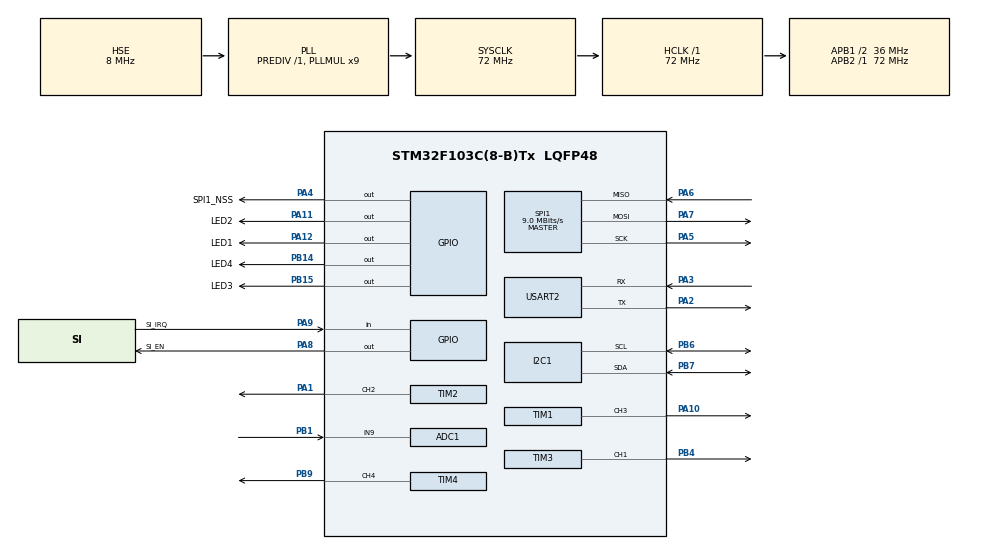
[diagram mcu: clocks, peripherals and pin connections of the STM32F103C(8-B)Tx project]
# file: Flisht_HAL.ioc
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ADC1.Channel-0\#ChannelRegularConversion=ADC_CHANNEL_9
ADC1.ContinuousConvMode=ENABLE
ADC1.NbrOfConversionFlag=1
ADC1.Rank-0\#ChannelRegularConversion=1
ADC1.SamplingTime-0\#ChannelRegularConversion=ADC_SAMPLETIME_7CYCLES_5
ADC1.master=1
Dma.ADC1.0.Direction=DMA_PERIPH_TO_MEMORY
Dma.ADC1.0.Instance=DMA1_Channel1
Dma.ADC1.0.MemDataAlignment=DMA_MDATAALIGN_HALFWORD
Dma.ADC1.0.MemInc=DMA_MINC_ENABLE
Dma.ADC1.0.Mode=DMA_CIRCULAR
Dma.ADC1.0.PeriphDataAlignment=DMA_PDATAALIGN_HALFWORD
Dma.ADC1.0.PeriphInc=DMA_PINC_DISABLE
Dma.ADC1.0.Priority=DMA_PRIORITY_LOW
Dma.Request0=ADC1
I2C1.I2C_Mode=I2C_Fast
Mcu.Family=STM32F1
Mcu.Name=STM32F103C(8-B)Tx
Mcu.Package=LQFP48
NVIC.DMA1_Channel1_IRQn=true\:6\:0\:true\:false\:true\:false\:true\:true
NVIC.PriorityGroup=NVIC_PRIORITYGROUP_4
PA1.Signal=S_TIM2_CH2
PA10.Signal=S_TIM1_CH3
PA11.GPIO_Label=LED2
PA11.GPIO_Speed=GPIO_SPEED_FREQ_HIGH
PA11.PinState=GPIO_PIN_SET
PA11.Signal=GPIO_Output
PA12.GPIO_Label=LED1
PA12.GPIO_Speed=GPIO_SPEED_FREQ_HIGH
PA12.PinState=GPIO_PIN_SET
PA12.Signal=GPIO_Output
PA13.Mode=Serial_Wire
PA13.Signal=SYS_JTMS-SWDIO
PA14.Mode=Serial_Wire
PA14.Signal=SYS_JTCK-SWCLK
PA2.Mode=Asynchronous
PA2.Signal=USART2_TX
PA3.Mode=Asynchronous
PA3.Signal=USART2_RX
PA4.GPIO_Label=SPI1_NSS
PA4.GPIO_Speed=GPIO_SPEED_FREQ_HIGH
PA4.PinState=GPIO_PIN_SET
PA4.Signal=GPIO_Output
PA5.Mode=Full_Duplex_Master
PA5.Signal=SPI1_SCK
PA6.Mode=Full_Duplex_Master
PA6.Signal=SPI1_MISO
PA7.Mode=Full_Duplex_Master
PA7.Signal=SPI1_MOSI
PA8.GPIO_Label=SI_EN
PA8.GPIO_Speed=GPIO_SPEED_FREQ_HIGH
PA8.PinState=GPIO_PIN_SET
PA8.Signal=GPIO_Output
PA9.GPIO_Label=SI_IRQ
PA9.GPIO_PuPd=GPIO_PULLUP
PA9.Signal=GPIO_Input
PB1.Signal=ADCx_IN9
PB14.GPIO_Label=LED4
PB14.GPIO_Speed=GPIO_SPEED_FREQ_HIGH
PB14.PinState=GPIO_PIN_SET
PB14.Signal=GPIO_Output
PB15.GPIO_Label=LED3
PB15.GPIO_Speed=GPIO_SPEED_FREQ_HIGH
PB15.PinState=GPIO_PIN_SET
PB15.Signal=GPIO_Output
PB4.Signal=S_TIM3_CH1
PB6.Mode=I2C
PB6.Signal=I2C1_SCL
PB7.Mode=I2C
PB7.Signal=I2C1_SDA
PB9.Signal=S_TIM4_CH4
PC14-OSC32_IN.Mode=LSE-External-Oscillator
PC14-OSC32_IN.Signal=RCC_OSC32_IN
PC15-OSC32_OUT.Mode=LSE-External-Oscillator
PC15-OSC32_OUT.Signal=RCC_OSC32_OUT
PD0-OSC_IN.Mode=HSE-External-Oscillator
PD0-OSC_IN.Signal=RCC_OSC_IN
PD1-OSC_OUT.Mode=HSE-External-Oscillator
PD1-OSC_OUT.Signal=RCC_OSC_OUT
ProjectManager.HeapSize=0x200
ProjectManager.StackSize=0x400
ProjectManager.TargetToolchain=MDK-ARM V5.27
RCC.ADCPresc=RCC_ADCPCLK2_DIV6
RCC.AHBFreq_Value=72000000
RCC.APB1CLKDivider=RCC_HCLK_DIV2
RCC.APB1Freq_Value=36000000
RCC.APB1TimFreq_Value=72000000
RCC.APB2Freq_Value=72000000
RCC.APB2TimFreq_Value=72000000
RCC.HCLKFreq_Value=72000000
RCC.PLLMUL=RCC_PLL_MUL9
RCC.PLLSourceVirtual=RCC_PLLSOURCE_HSE
RCC.SYSCLKFreq_VALUE=72000000
RCC.SYSCLKSource=RCC_SYSCLKSOURCE_PLLCLK
RCC.USBFreq_Value=72000000
SH.ADCx_IN9.0=ADC1_IN9,IN9
SH.S_TIM1_CH3.0=TIM1_CH3,PWM Generation3 CH3
SH.S_TIM2_CH2.0=TIM2_CH2,PWM Generation2 CH2
SH.S_TIM3_CH1.0=TIM3_CH1,PWM Generation1 CH1
SH.S_TIM4_CH4.0=TIM4_CH4,PWM Generation4 CH4
SPI1.BaudRatePrescaler=SPI_BAUDRATEPRESCALER_8
SPI1.CalculateBaudRate=9.0 MBits/s
SPI1.Direction=SPI_DIRECTION_2LINES
SPI1.Mode=SPI_MODE_MASTER
SPI1.VirtualType=VM_MASTER
TIM1.Channel-PWM\ Generation3\ CH3=TIM_CHANNEL_3
TIM1.Period=1000-1
TIM1.Prescaler=4-1
TIM2.Channel-PWM\ Generation2\ CH2=TIM_CHANNEL_2
TIM2.Period=1000-1
TIM2.Prescaler=4-1
TIM3.Channel-PWM\ Generation1\ CH1=TIM_CHANNEL_1
TIM3.Period=1000-1
TIM3.Prescaler=4-1
TIM4.Channel-PWM\ Generation4\ CH4=TIM_CHANNEL_4
TIM4.Period=1000-1
TIM4.Prescaler=4-1
USART2.VirtualMode=VM_ASYNC
VP_TIM1_VS_ClockSourceINT.Mode=Internal
VP_TIM2_VS_ClockSourceINT.Mode=Internal
VP_TIM3_VS_ClockSourceINT.Mode=Internal
VP_TIM4_VS_ClockSourceINT.Mode=Internal
board=custom

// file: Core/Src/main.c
/* USER CODE BEGIN Header */
/**
  ******************************************************************************
  * @file           : main.c
  * @brief          : Main program body
  ******************************************************************************
  * @attention
  *
  * Copyright (c) 2025 STMicroelectronics.
  * All rights reserved.
  *
  * This software is licensed under terms that can be found in the LICENSE file
  * in the root directory of this software component.
  * If no LICENSE file comes with this software, it is provided AS-IS.
  *
  ******************************************************************************
  */
/* USER CODE END Header */
#include "main.h"
#include "adc.h"
#include "dma.h"
#include "i2c.h"
#include "spi.h"
#include "tim.h"
#include "usart.h"
#include "gpio.h"

/* USER CODE BEGIN Includes */
#include "App_Flight.h"
#include "Int_LED.h"
#include "Int_MPU6050.h"
#include "Com_IMU.h"
#include "NRF24L01.h"
#include "App_Task.h"
/* USER CODE END Includes */

/* USER CODE BEGIN PV */
uint16_t ADC_Value[5];
/* USER CODE END PV */

void SystemClock_Config(void);

int main(void)
{

  /* MCU Configuration--------------------------------------------------------*/

  /* Reset of all peripherals, Initializes the Flash interface and the Systick. */
  HAL_Init();

  /* Configure the system clock */
  SystemClock_Config();

  /* Initialize all configured peripherals */
  MX_GPIO_Init();
  MX_DMA_Init();
  MX_USART2_UART_Init();
  MX_TIM4_Init();
  MX_TIM1_Init();
  MX_TIM2_Init();
  MX_TIM3_Init();
  MX_ADC1_Init();
  MX_I2C1_Init();
  MX_SPI1_Init();
  /* USER CODE BEGIN 2 */
  /*初始化MPU*/
  Int_MPU6050_Init();
  // 校准MPU
  App_Flight_MPU_Offsets();

  /*启动PWM*/
  HAL_TIM_PWM_Start(&htim1, TIM_CHANNEL_3);
  HAL_TIM_PWM_Start(&htim2, TIM_CHANNEL_2);
  HAL_TIM_PWM_Start(&htim3, TIM_CHANNEL_1);
  HAL_TIM_PWM_Start(&htim4, TIM_CHANNEL_4);

//  printf("dma启动前...");
//  HAL_ADC_Start_DMA(&hadc1, (uint32_t *)ADC_Value, 5); // 采集电压
//  printf("dma启动后...");

  while(NRF24L01_Check()); // 自检不成功就一直循环
  printf("自检成功...");
  NRF24L01_RX_Mode();
  printf("接收模式设置成功...");
  App_PID_Param_Init();
  printf("PID系数初始化成功...\r\n");

  FreeRTOS_Start();

  /* USER CODE END 2 */

  /* Infinite loop */
  /* USER CODE BEGIN WHILE */
  uint8_t rx_buff[28] = {0};
  while (1)
  {
//      NRF24L01_RxPacket(rx_buff); // 将获取到的数据帧存放到rx_buff中, 设置connect_flag=0
//	  App_Flight_Remote_Check(rx_buff, 28);//解析数据帧,将数据内容存放到remote_data结构体中,设置connect_flag=1
//	  App_Flight_RC_Analysis();
//      HAL_Delay(4);
    /* USER CODE END WHILE */

  }
}

void SystemClock_Config(void)
{
  RCC_OscInitTypeDef RCC_OscInitStruct = {0};
  RCC_ClkInitTypeDef RCC_ClkInitStruct = {0};
  RCC_PeriphCLKInitTypeDef PeriphClkInit = {0};

  /** Initializes the RCC Oscillators according to the specified parameters
  * in the RCC_OscInitTypeDef structure.
  */
  RCC_OscInitStruct.OscillatorType = RCC_OSCILLATORTYPE_HSE;
  RCC_OscInitStruct.HSEState = RCC_HSE_ON;
  RCC_OscInitStruct.HSEPredivValue = RCC_HSE_PREDIV_DIV1;
  RCC_OscInitStruct.HSIState = RCC_HSI_ON;
  RCC_OscInitStruct.PLL.PLLState = RCC_PLL_ON;
  RCC_OscInitStruct.PLL.PLLSource = RCC_PLLSOURCE_HSE;
  RCC_OscInitStruct.PLL.PLLMUL = RCC_PLL_MUL9;
  if (HAL_RCC_OscConfig(&RCC_OscInitStruct) != HAL_OK)
  {
    Error_Handler();
  }

  /** Initializes the CPU, AHB and APB buses clocks
  */
  RCC_ClkInitStruct.ClockType = RCC_CLOCKTYPE_HCLK|RCC_CLOCKTYPE_SYSCLK
                              |RCC_CLOCKTYPE_PCLK1|RCC_CLOCKTYPE_PCLK2;
  RCC_ClkInitStruct.SYSCLKSource = RCC_SYSCLKSOURCE_PLLCLK;
  RCC_ClkInitStruct.AHBCLKDivider = RCC_SYSCLK_DIV1;
  RCC_ClkInitStruct.APB1CLKDivider = RCC_HCLK_DIV2;
  RCC_ClkInitStruct.APB2CLKDivider = RCC_HCLK_DIV1;

  if (HAL_RCC_ClockConfig(&RCC_ClkInitStruct, FLASH_LATENCY_2) != HAL_OK)
  {
    Error_Handler();
  }
  PeriphClkInit.PeriphClockSelection = RCC_PERIPHCLK_ADC;
  PeriphClkInit.AdcClockSelection = RCC_ADCPCLK2_DIV6;
  if (HAL_RCCEx_PeriphCLKConfig(&PeriphClkInit) != HAL_OK)
  {
    Error_Handler();
  }
}

void Error_Handler(void)
{
  __disable_irq();
  while (1)
  {
  }
}
